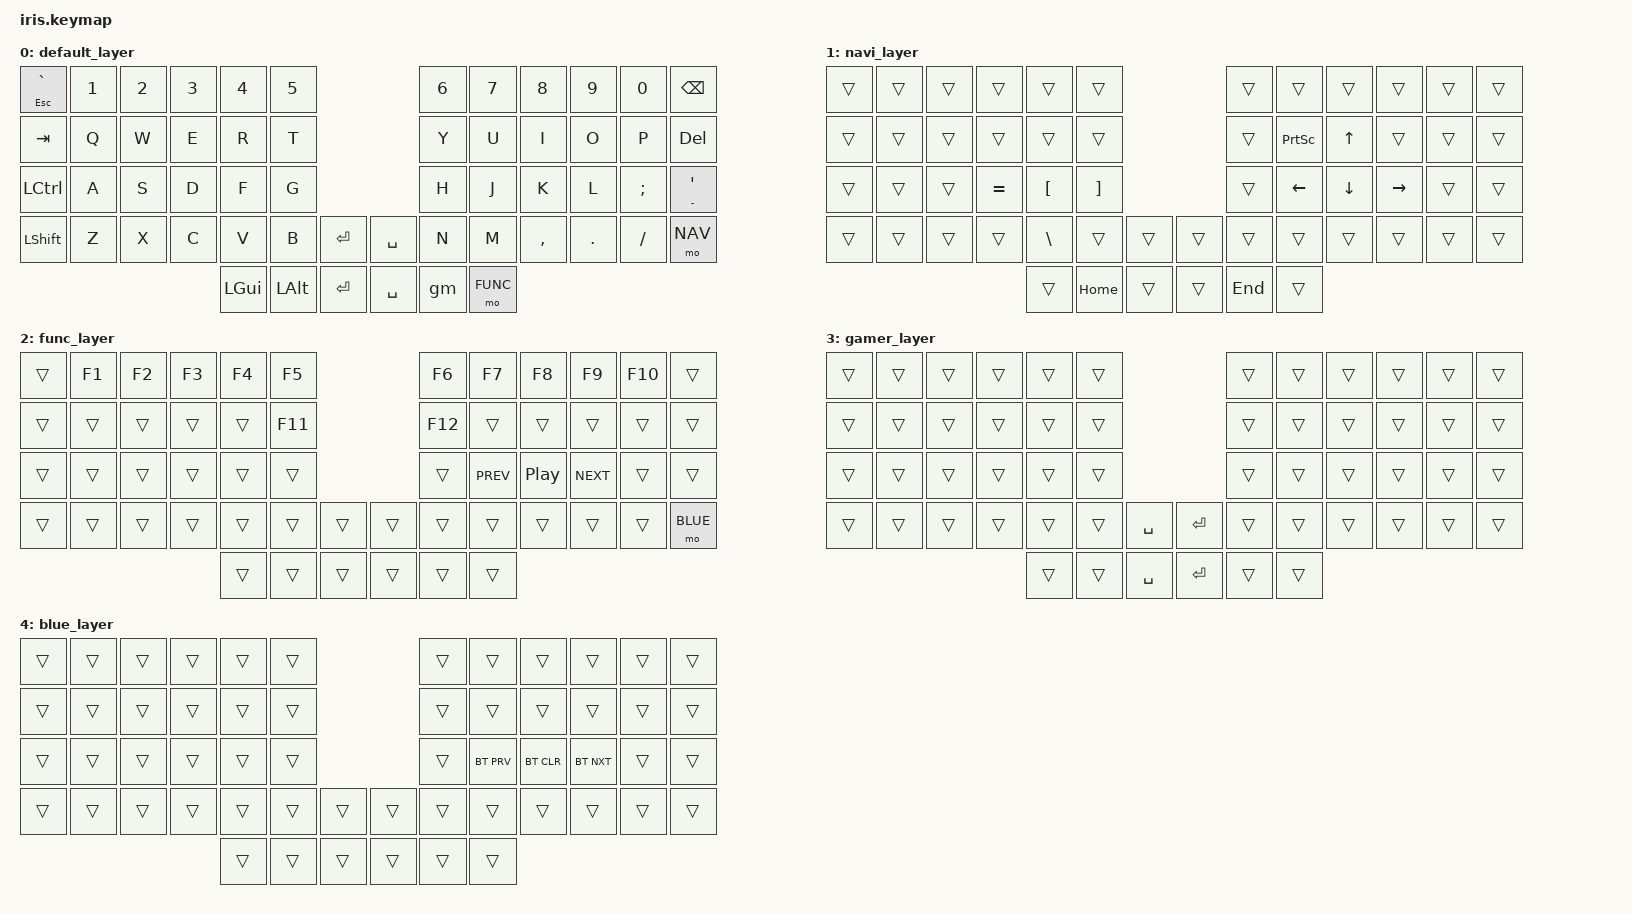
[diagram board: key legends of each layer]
#include <behaviors.dtsi>
#include <dt-bindings/zmk/keys.h>
#include <dt-bindings/zmk/bt.h>

#define DEFAULT 0
#define NAV     1
#define FUNC	2
#define GAME	3
#define BLUE    4

#define NONE 0

/ {
	behaviors {

		ht: hold_tap{
            compatible = "zmk,behavior-hold-tap";
            label = "HOLD_TAP";
            #binding-cells = <2>;
            tapping-term-ms = <150>;
            quick_tap_ms = <150>;
            flavor = "tap-preferred";
            bindings = <&kp>, <&kp>;
        };

		gm: gamer_mode {
            compatible = "zmk,behavior-tap-dance";
            label = "LAYER_DANCE";
            #binding-cells = <0>;
            tapping-term-ms = <200>;
            bindings = <&kp RALT>, <&none>, <&tog GAME>;
        };
        
        qm: quot_min {
            compatible = "zmk,behavior-tap-dance";
            label = "QUOT_MIN";
            #binding-cells = <0>;
            tapping-term-ms = <150>;
            bindings = <&kp SQT>, <&kp MINUS>;
        };

    };

	keymap {
		compatible = "zmk,keymap";

		default_layer {
// ------------------------------------------------------------------------------------------------------------
// |  ESC  |  1  |  2  |  3   |  4   |  5   |                   |  6    |  7    |  8    |  9   |   0   |  BKSP |
// |  TAB  |  Q  |  W  |  E   |  R   |  T   |                   |  Y    |  U    |  I    |  O   |   P   |  DEL  |
// |  CTRL |  A  |  S  |  D   |  F   |  G   |                   |  H    |  J    |  K    |  L   |   ;   |  QM   |
// | SHIFT |  Z  |  X  |  C   |  V   |  B   |  ENTER |  | SPACE |  N    |  M    |  ,    |  .   |   /   |  NAVI |
//                     		  | GUI  | ALT  |  ENTER |  | SPACE |AltGame| MEDIA |
			bindings = <
&ht ESC GRAVE &kp N1    &kp N2    &kp N3    &kp N4    &kp N5                        &kp N6    &kp N7    &kp N8     &kp N9    &kp N0    &kp BSPC
&kp TAB  	  &kp Q     &kp W     &kp E     &kp R     &kp T                         &kp Y     &kp U     &kp I      &kp O     &kp P     &kp DEL
&kp LCTRL 	  &kp A     &kp S     &kp D     &kp F     &kp G                         &kp H     &kp J     &kp K      &kp L     &kp SEMI  &ht MINUS SQT
&kp LSHIFT    &kp Z     &kp X     &kp C     &kp V     &kp B    &kp RET   &kp SPACE  &kp N     &kp M     &kp COMMA  &kp DOT   &kp FSLH  &mo NAV
                   			 		        &kp LGUI  &kp LALT &kp RET   &kp SPACE  &gm       &mo FUNC
			>;
		};

		navi_layer {
// ------------------------------------------------------------------------------------------------------------
// |       |     |     |      |      |      |                   |      |       |       |       |       |       |
// |       |     |     |      |      |      |                   |      |       |  UP   |       |       |       |
// |       |     |  -  |  =   |  [   |  ]   |                   |      |  LEFT | DOWN  | RIGHT |       |       |
// |       |     |     |      |  \   |  "|" |       |   |       |      |       |       |       |       |       |
//                            |      |      |       |   |       |      |       |
			bindings = <
&trans   &trans    &trans    &trans    &trans     &trans                        &trans     &trans    &trans     &trans     &trans  &trans
&trans   &trans    &trans    &trans    &trans     &trans                        &trans     &kp PSCRN &kp UP     &trans     &trans  &trans
&trans   &trans    &trans    &kp EQUAL &kp LBKT   &kp RBKT                      &trans     &kp LEFT  &kp DOWN   &kp RIGHT  &trans  &trans
&trans   &trans    &trans    &trans    &kp BSLH   &trans      &trans   &trans   &trans     &trans    &trans     &trans     &trans  &trans
                   		     		   &trans     &kp HOME    &trans   &trans   &kp END    &trans
			>;
		};

		func_layer {
// ------------------------------------------------------------------------------------------------------------
// |       |  F1 |  F2 |  F3  |  F4  |  F5  |                   |  F6  |  F7   |  F8   |  F9  |  F10  |       |
// |       |     |     |      |      |  F11 |                   |  F12 |       |       |      |       |       |
// |       |     |     |      |      |      |                   |      |       |  MPRV | MPLY |  MNXT |       |
// |       |     |     |      |      |      | ENTER |   | SPACE |      |       |       |      |       | BLUE  |
//                            |      |      | ENTER |   | SPACE |      |       |
			bindings = <
&trans     &kp F1     &kp F2     &kp F3     &kp F4    &kp F5                       &kp F6    &kp F7     &kp F8     &kp F9     &kp F10    &trans
&trans     &trans     &trans     &trans     &trans    &kp F11                      &kp F12   &trans     &trans     &trans     &trans     &trans
&trans     &trans     &trans     &trans     &trans    &trans                       &trans    &kp C_PREV &kp C_PP   &kp C_NEXT &trans	 &trans
&trans     &trans     &trans     &trans     &trans    &trans  &trans      &trans   &trans    &trans     &trans     &trans     &trans     &mo BLUE
                   		     		        &trans    &trans  &trans      &trans   &trans    &trans
			>;
		};

		gamer_layer {
// ------------------------------------------------------------------------------------------------------------
// |       |     |     |      |      |      |                   |      |       |       |      |       |       |
// |       |     |     |      |      |      |                   |      |       |       |      |       |       |
// |       |     |     |      |      |      |                   |      |       |       |      |       |       |
// |       |     |     |      |      |      | SPACE |   | ENTER |      |       |       |      |       |       |
//                            |      |      | SPACE |   | ENTER |      |       |
			bindings = <
&trans     &trans     &trans     &trans     &trans    &trans                       &trans    &trans     &trans     &trans     &trans     &trans
&trans     &trans     &trans     &trans     &trans    &trans                       &trans    &trans     &trans     &trans     &trans     &trans
&trans     &trans     &trans     &trans     &trans    &trans                       &trans    &trans 	&trans     &trans     &trans	 &trans
&trans     &trans     &trans     &trans     &trans    &trans  &kp SPACE  &kp RET   &trans    &trans     &trans     &trans     &trans     &trans
                   		     		        &trans    &trans  &kp SPACE  &kp RET   &trans    &trans
			>;
		};

		blue_layer {
// ------------------------------------------------------------------------------------------------------------
// |       |     |     |      |      |      |                   |      |       |       |      |       |       |
// |       |     |     |      |      |      |                   |      |       |       |      |       |       |
// |       |     |     |      |      |      |                   |      |BT_PRV |BT_CLR |BT_NXT|       |       |
// |       |     |     |      |      |      | ENTER |   | SPACE |      |       |       |      |       |       |
//                            |      |      | ENTER |   | SPACE |      |       |
			bindings = <
&trans     &trans     &trans     &trans     &trans    &trans                       &trans    &trans     &trans     &trans     &trans     &trans
&trans     &trans     &trans     &trans     &trans    &trans                       &trans    &trans     &trans     &trans     &trans     &trans
&trans     &trans     &trans     &trans     &trans    &trans                       &trans    &bt BT_PRV &bt BT_CLR &bt BT_NXT &trans	 &trans
&trans     &trans     &trans     &trans     &trans    &trans  &trans  	  &trans   &trans    &trans     &trans     &trans     &trans     &trans
                   		     		        &trans    &trans  &trans      &trans   &trans    &trans
			>;
		};

	};
};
